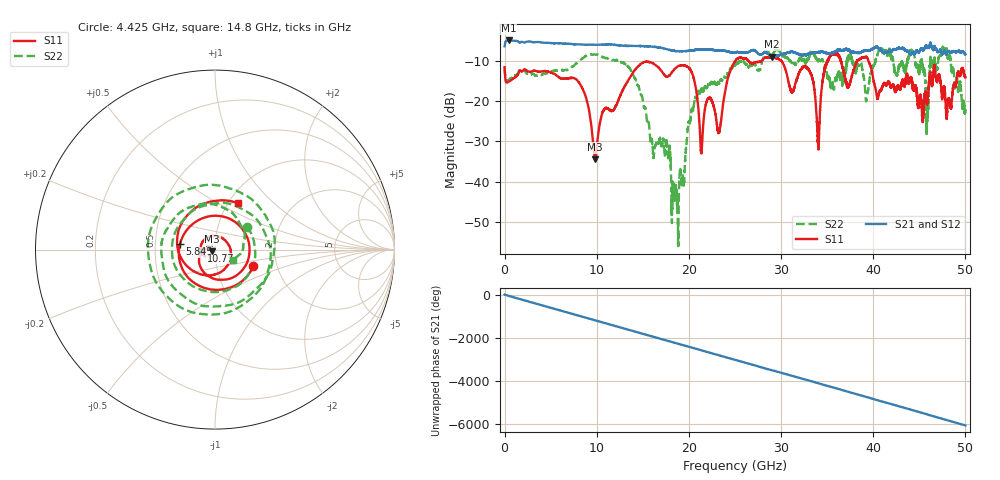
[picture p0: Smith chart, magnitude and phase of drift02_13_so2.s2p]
!Created with skrf (http://scikit-rf.org).
# Hz S RI R 50.0
!freq ReS11 ImS11 ReS21 ImS21 ReS12 ImS12 ReS22 ImS22
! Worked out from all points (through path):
!   10001 points, 300 kHz to 50 GHz, reference 50 ohm
!   highest |S21| = -5.04 dB at 430.3 MHz (marker M1); lowest = -9.0 dB at 29.05 GHz (marker M2)
!   group delay of S21, straight-line fit = 336 ps
!   lowest |S11| = -34.4 dB at 9.815 GHz (marker M3), VSWR 1.04, Z = 48.4 - j0.92 ohm
!   |S11| at or under -10 dB: start of sweep to 25.08 GHz; 29.98 GHz to 35.05 GHz (5.074 GHz wide, 15.6 % of centre); 39.47 GHz to end of sweep (the widest 3 of 8)
!   |S22| runs from -55.9 to -6.6 dB; largest |S21 - S12| = 0.023
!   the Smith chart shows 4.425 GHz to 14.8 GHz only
!   S11 on the Smith chart (normalised r, x): 4.425 GHz: 1.51, -0.30; 5.845 GHz: 0.67, +0.04; 10.77 GHz: 0.86, -0.01; 14.8 GHz: 1.11, +0.62
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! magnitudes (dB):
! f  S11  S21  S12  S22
! 300 kHz  -11.6  -6.5  -6.4  -11.6
! 430.3 MHz  -15.2  -5.0  -5.0  -14.8
! 4.425 GHz  -12.6  -5.6  -5.6  -13.3
! 5.845 GHz  -14.1  -5.7  -5.7  -12.5
! 8.335 GHz  -16.4  -6.0  -6.0  -9.6
! 9.815 GHz  -34.4  -6.1  -6.1  -8.5
! 10.77 GHz  -22.2  -6.1  -6.1  -9.2
! 14.8 GHz  -10.8  -6.4  -6.4  -18.5
! 16.67 GHz  -11.7  -6.7  -6.7  -30.3
! 18.67 GHz  -11.7  -7.7  -7.7  -43.1
! 20.37 GHz  -13.3  -7.5  -7.5  -22.0
! 21.37 GHz  -32.7  -7.2  -7.3  -17.0
! 23.31 GHz  -27.5  -7.6  -7.6  -15.6
! 25 GHz  -10.2  -8.0  -8.0  -11.1
! 29.05 GHz  -9.1  -9.0  -9.0  -8.2
! 33.34 GHz  -13.9  -8.1  -8.2  -8.0
! 34.02 GHz  -31.1  -7.9  -8.0  -10.1
! 35.54 GHz  -8.4  -8.1  -8.1  -15.6
! 41.67 GHz  -15.3  -7.7  -7.8  -7.4
! 45.86 GHz  -20.8  -6.7  -6.8  -21.5
! 47.76 GHz  -17.3  -7.5  -7.5  -7.3
! 50 GHz  -14.1  -8.4  -8.4  -21.5
